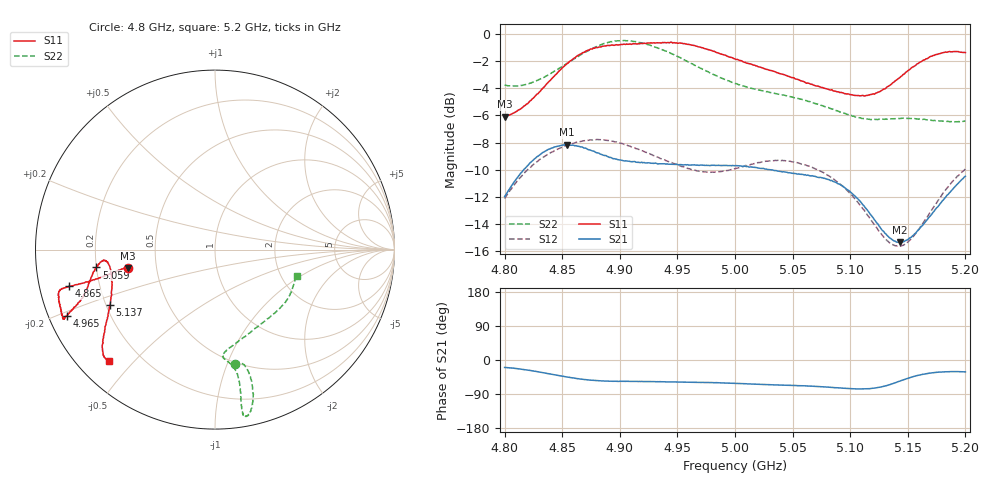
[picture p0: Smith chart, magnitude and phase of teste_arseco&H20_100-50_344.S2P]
! Network Analyzer HP8722D
! Hewlett-Packard
! Data name: Linha & Wilkinson
! Saver's name: Rodrigo Anjos
! Comments: Teste da utilização de aquisição
! continua pelo VNA HP8722D
! Time and date: 6/5/2025 15:26
!  Frequency  S11  S21  S12  S22
# HZ  S  MA R 50
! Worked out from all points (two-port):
!   401 points, 4.8 GHz to 5.2 GHz, reference 50 ohm
!   highest |S21| = -8.15 dB at 4.854 GHz (marker M1); lowest = -15.3 dB at 5.143 GHz (marker M2)
!   |S21| within 3 dB of the highest: 4.806 GHz to 5.093 GHz (286.6 MHz wide, 5.79 % of centre); 5.191867 GHz to end of sweep
!   lowest |S11| = -6.1 dB at 4.8 GHz (marker M3), VSWR 2.97, Z = 17 - j4.6 ohm
!   |S11| at or under -10 dB: nowhere
!   |S22| runs from -6.5 to -0.5 dB; largest |S21 - S12| = 0.62
!   S11 on the Smith chart (normalised r, x): 4.8 GHz: 0.34, -0.09; 4.865 GHz: 0.09, -0.12; 4.965 GHz: 0.05, -0.21; 5.059 GHz: 0.20, -0.07; 5.137 GHz: 0.22, -0.24; 5.2 GHz: 0.09, -0.43
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4.8e9  0.4961 -168.1  0.2521 -19.6  0.248 -140.8  0.6478 -80.3
4.827e9  0.5927 -167.0  0.3498 -29.9  0.3356 -144.5  0.6703 -75.5
4.854e9  0.7762 -165.8  0.3913 -44.9  0.3892 -149.7  0.7791 -74.7
4.865e9  0.8397 -165.9  0.3855 -49.9  0.4011 -151.6  0.8332 -75.1
4.867e9  0.8485 -165.7  0.384 -50.7  0.403 -151.9  0.8427 -75.3
4.881e9  0.8915 -165.3  0.3652 -54.6  0.409 -154.3  0.903 -76.9
4.9e9  0.9122 -162.5  0.3438 -56.2  0.3965 -156.4  0.943 -79.1
4.934e9  0.9277 -156.4  0.333 -57.4  0.3506 -155.5  0.8837 -80.4
4.965e9  0.9059 -155.9  0.33 -58.9  0.3156 -148.5  0.7672 -79.6
5e9  0.8089 -159.0  0.3276 -61.8  0.3198 -137.1  0.6572 -81.2
5.032e9  0.7323 -164.5  0.3162 -65.5  0.3417 -134.1  0.6076 -85.3
5.059e9  0.6688 -171.5  0.3044 -68.1  0.3317 -135.9  0.5722 -84.4
5.067e9  0.6528 -172.9  0.3011 -69.0  0.323 -136.6  0.5605 -82.7
5.085e9  0.6184 -174.4  0.287 -72.5  0.2941 -138.3  0.5286 -75.9
5.103e9  0.5949 -171.5  0.2557 -76.0  0.2505 -138.7  0.4982 -65.3
5.117e9  0.5974 -164.9  0.2186 -75.6  0.2099 -135.0  0.4851 -55.1
5.134e9  0.6457 -154.2  0.1781 -65.4  0.1708 -120.8  0.4871 -43.4
5.137e9  0.6615 -152.3  0.1744 -62.4  0.1679 -116.8  0.4879 -41.5
5.143e9  0.6904 -149.3  0.1712 -55.9  0.1658 -109.0  0.4882 -38.0
5.154e9  0.7547 -144.3  0.1806 -44.5  0.1786 -95.1  0.4884 -32.3
5.172e9  0.8328 -138.9  0.2209 -33.6  0.2294 -81.1  0.48 -24.5
5.2e9  0.8535 -133.6  0.2997 -31.3  0.3186 -76.7  0.4776 -17.6
